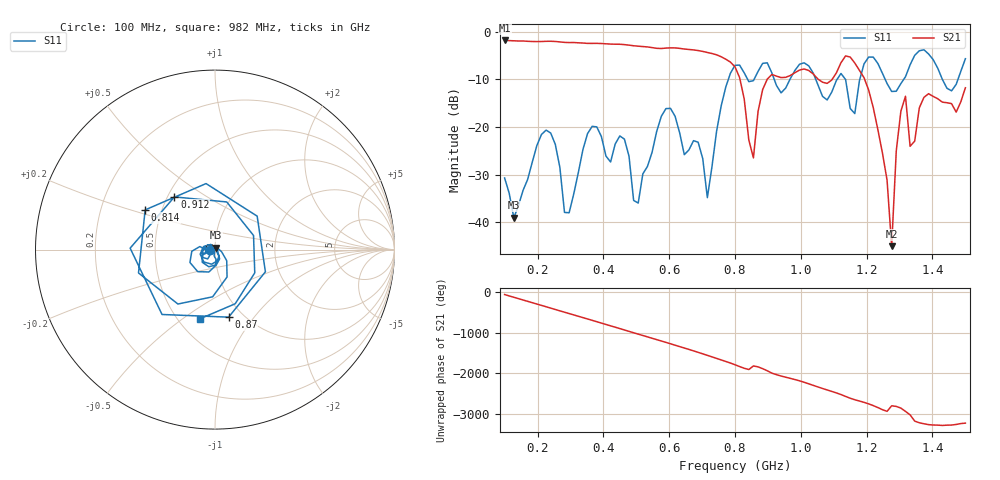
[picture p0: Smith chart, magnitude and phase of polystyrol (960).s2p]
! NanoVNA-App
! Date: 2025-09-25 15:37:21
! Start: 100MHz Stop: 1,5GHz Points: 101
! S-Parameter data: F S11 S21 S12 S22
# Hz S RI R 50
!  Frequency  S11_Real  S11_Imag  S21_Real  S21_Imag  S12_Real  S12_Imag  S22_Real  S22_Imag
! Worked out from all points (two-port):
!   101 points, 100 MHz to 1.5 GHz, reference 50 ohm
!   highest |S21| = -1.80 dB at 100 MHz (marker M1); lowest = -45.1 dB at 1.276 GHz (marker M2)
!   |S21| within 3 dB of the highest: start of sweep to 743.1 MHz
!   lowest |S11| = -39.1 dB at 128 MHz (marker M3), VSWR 1.02, Z = 50.3 + j1.06 ohm
!   |S11| at or under -10 dB: start of sweep to 779.7 MHz; 1.045 GHz to 1.11 GHz (64.61 MHz wide, 6 % of centre); 1.136 GHz to 1.179 GHz (43.29 MHz wide, 3.74 % of centre) (the widest 3 of 7)
!   S12 and S22 are empty: the file has one direction only
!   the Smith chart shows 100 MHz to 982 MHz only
!   S11 on the Smith chart (normalised r, x): 100 MHz: 0.94, -0.01; 814 MHz: 0.40, +0.22; 870 MHz: 0.86, -0.76; 912 MHz: 0.54, +0.37; 982 MHz: 0.64, -0.58
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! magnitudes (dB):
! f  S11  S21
! 100 MHz  -30.7  -1.8
! 128 MHz  -39.1  -1.9
! 212 MHz  -21.6  -2.0
! 282 MHz  -38.0  -2.2
! 338 MHz  -24.7  -2.3
! 464 MHz  -22.5  -2.7
! 506 MHz  -36.0  -3.0
! 576 MHz  -17.8  -3.5
! 716 MHz  -34.9  -4.3
! 800 MHz  -7.0  -7.3
! 814 MHz  -7.0  -9.6
! 856 MHz  -10.3  -26.5
! 870 MHz  -8.3  -16.7
! 912 MHz  -8.6  -9.0
! 982 MHz  -8.1  -8.6
! 1.038 GHz  -8.7  -8.9
! 1.164 GHz  -17.2  -6.5
! 1.192 GHz  -6.7  -9.6
! 1.276 GHz  -12.5  -45.1
! 1.318 GHz  -9.4  -13.5
! 1.332 GHz  -6.9  -24.1
! 1.5 GHz  -5.6  -11.7
